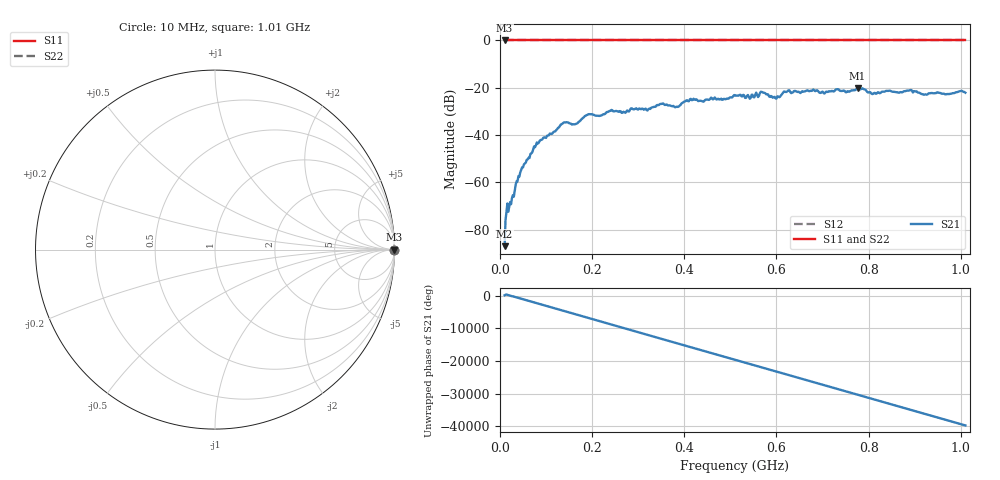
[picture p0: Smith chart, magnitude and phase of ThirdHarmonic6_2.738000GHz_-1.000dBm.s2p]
! 8/17/2025 6:46:41 AM
! C:\ANRITSUVNA\TEMP\TEMP.S2P
! CHANNEL.1
! TR.MEASUREMENT
! RAW.DATA
! RF.CORRECTION.OFF
! AVERAGING.OFF
! IF.BANDWIDTH: 5KHZ
! SWEEPTYPE:  FREQ.SWEEP(Linear)
! Reference Plane Port Info
! PORT:  PORT1  PORT2
! DISTANCE:  0  m  0  m
! TIME:  0  s  0  s
! PHASE.OFFSET:  0  deg.  0  deg.
! LOSS:  0  dB  0  dB
! REF.LOSS:  0  dB  0  dB
! REF.FREQ:  0  Hz  0  Hz
! Power Info
! POWER:  -20  dBm  -20  dBm
! EFF.POWER:  -20  dBm  -20  dBm
! SOURCE.ATTEN:  0  dB  0  dB
! TEST.ATTEN:  0  dB  0  dB
# GHZ S RI R 50.0
! FREQ.GHZ  S11RE  S11IM  S21RE  S21IM  S12RE  S12IM  S22RE  S22IM
!; PortSelection: Port_12
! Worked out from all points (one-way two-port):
!   501 points, 10 MHz to 1.01 GHz, reference 50 ohm
!   highest |S21| = -20.15 dB at 776 MHz (marker M1); lowest = -87.0 dB at 10 MHz (marker M2)
!   lowest |S11| = 0.0 dB at 10 MHz (marker M3)
!   |S11| at or under -10 dB: nowhere
!   |S22| runs from 0.0 to 0.0 dB; largest |S21 - S12| = 1.1
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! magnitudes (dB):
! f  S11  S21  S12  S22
! 10 MHz  0.0  -87.0  0.0  0.0
! 18 MHz  0.0  -72.4  0.0  0.0
! 44 MHz  0.0  -55.7  0.0  0.0
! 76 MHz  0.0  -45.1  0.0  0.0
! 136 MHz  0.0  -35.1  0.0  0.0
! 164 MHz  0.0  -35.4  0.0  0.0
! 178 MHz  0.0  -33.2  0.0  0.0
! 192 MHz  0.0  -31.2  0.0  0.0
! 322 MHz  0.0  -29.0  0.0  0.0
! 344 MHz  0.0  -27.4  0.0  0.0
! 384 MHz  0.0  -28.0  0.0  0.0
! 416 MHz  0.0  -25.2  0.0  0.0
! 510 MHz  0.0  -23.1  0.0  0.0
! 546 MHz  0.0  -23.0  0.0  0.0
! 570 MHz  0.0  -21.9  0.0  0.0
! 596 MHz  0.0  -23.8  0.0  0.0
! 624 MHz  0.0  -21.5  0.0  0.0
! 678 MHz  0.0  -21.1  0.0  0.0
! 776 MHz  0.0  -20.2  0.0  0.0
! 810 MHz  0.0  -22.6  0.0  0.0
! 844 MHz  0.0  -21.3  0.0  0.0
! 1.01 GHz  0.0  -22.1  0.0  0.0
